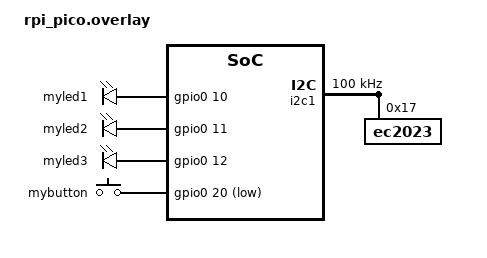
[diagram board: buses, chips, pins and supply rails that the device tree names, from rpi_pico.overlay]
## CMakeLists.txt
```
cmake_minimum_required(VERSION 3.20.0)

# Select our board 
set(BOARD rpi_pico)

# Find/Select cmake package 'Zephyr' 
find_package(Zephyr)

# This is only used by IntelliSense inside VS Code 
set(CMAKE_EXPORT_COMPILE_COMMANDS ON)

# For using west flash with picoprobe
set(OPENOCD "openocd")
set(OPENOCD_DEFAULT_PATH "/usr/local/share/openocd/scripts")

# Define project name
project(controller_code_driver)

# Add include directory 
target_include_directories(app PRIVATE src/inc)

# Add source files
FILE(GLOB SRC_FILES "src/*.c")
target_sources(app PRIVATE ${SRC_FILES})
```

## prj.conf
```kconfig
CONFIG_GPIO=y
CONFIG_I2C=y
CONFIG_I2C_TARGET=y
CONFIG_SENSOR=y
CONFIG_EC2023=y

CONFIG_DEBUG=y

CONFIG_NEWLIB_LIBC=y
CONFIG_NEWLIB_LIBC_FLOAT_PRINTF=y
```

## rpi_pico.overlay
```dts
#include <zephyr/dt-bindings/pinctrl/rpi-pico-rp2040-pinctrl.h>

// LED
/ {
	aliases {
		ledsoil = &myled1;
		statled = &myled2;
		aqled = &myled3;
		pinled = &mybutton;
	};

	leds {
		compatible = "gpio-leds";
		myled1: myled1 {
			gpios = <&gpio0 10 GPIO_ACTIVE_HIGH>;
		};
		myled2: myled2{
			gpios = <&gpio0 11 GPIO_ACTIVE_HIGH>;
		};
		myled3: myled3{
			gpios = <&gpio0 12 GPIO_ACTIVE_HIGH>;
		};
	};
	buttons {
		compatible = "gpio-keys";
		mybutton: mybutton {
		   gpios = <&gpio0 20 (GPIO_ACTIVE_LOW|GPIO_PULL_UP)>;
		};
	};
};


&pinctrl {
	i2c1_default: i2c1_default {
		group1 {
			pinmux = <I2C1_SDA_P2>, <I2C1_SCL_P3>;       
			input-enable;
			input-schmitt-enable;
		};
	};
};

&i2c1 {
	clock-frequency = <I2C_BITRATE_STANDARD>;
	status = "okay";
	pinctrl-0 = <&i2c1_default>;
	pinctrl-names = "default";
	ec2023@17{
		compatible = "ec2023";
		reg = <0x17>;
	};
};
```

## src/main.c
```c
/*       
 *
 * **********************          CONTROLLER DEVICE       **************************
 * 
 *  An interrupt occures on GPIO20 whenever soil moisture reading is dry
 *  An led on GPIO10 indicates the interrupt
 *  A status led keeps blinking ensuring the workflow
 *  
 * --------------------------------------------------
 * 
 * 	Editors : Anantha Krishnan
 *           Shalu Prakasi
 *           Shweta Rajasekhar
 * --------------------------------------------------
 * Sensor value Range
 * 0	~	300	- Fresh air             aq = 0      
 * 300	~	700	- Low pollution         aq = 1
 * > 700		- High pollution        aq = 2
 * --------------------------------------------------
 *
 * 
*/
#include <zephyr/kernel.h>
#include <zephyr/device.h>
#include <zephyr/devicetree.h>
#include <zephyr/drivers/gpio.h>
#include <zephyr/drivers/sensor.h>
#include <zephyr/drivers/i2c.h>
#include <stdio.h>

#define MOIST_HIGH  800
#define MOIST_LOW   350

#define STAT_LED		DT_ALIAS(statled)               // 11
#define AQ_LED			DT_ALIAS(aqled)                 //12
#define SOIL_LED    	DT_ALIAS(ledsoil)           //LED FOR INTERRUPT INDICATOR 10
#define SOIL_INTR   	DT_ALIAS(pinled)           //LED FOR INTERRUPT 20
#define STACK_SIZE  	500
#define AQDELAYHIGH		150
#define AQDELAYLOW		800			

struct gpio_dt_spec status = GPIO_DT_SPEC_GET(STAT_LED, gpios); 
struct gpio_dt_spec aq_led = GPIO_DT_SPEC_GET(AQ_LED, gpios); 
struct gpio_dt_spec soil_intr = GPIO_DT_SPEC_GET(SOIL_INTR, gpios); 
struct gpio_dt_spec soil_led = GPIO_DT_SPEC_GET(SOIL_LED, gpios); 
static struct gpio_callback soil_cb_data;

bool moisture_flag;

int aq_delay;

K_SEM_DEFINE(sem, 0, 1);
K_MUTEX_DEFINE(mutex);

void response_isr() {
    k_sem_give(&sem);
}

void main_task(void)
{
    int ret;
	gpio_pin_configure_dt(&status, GPIO_OUTPUT);
	gpio_pin_configure_dt(&aq_led, GPIO_OUTPUT);

	const struct device *const dev = DEVICE_DT_GET_ONE(ec2023);
	struct sensor_value temp, moisture, air_qual;

	if (!device_is_ready(dev)) {
		printk("sensor: device not ready.\n");
		return;
	}
	while (1) {
		gpio_pin_toggle_dt(&status);				//Status led just toggles each loop

		ret = sensor_sample_fetch(dev);
        if(ret < 0){
            printk("Error");
        }
		sensor_channel_get(dev, SENSOR_CHAN_AMBIENT_TEMP, &temp);
		sensor_channel_get(dev, SENSOR_CHAN_HUMIDITY, &moisture);
		sensor_channel_get(dev, SENSOR_CHAN_VOC, &air_qual);
		
		printk("Temperature\t: %d.%06d\t*\nSoil Moisture\t: %d\t\t*\nAQ index\t: %d\t\t*\n",temp.val1, temp.val2, moisture.val1, air_qual.val1);
		printk("*********************************\n");
		if(moisture.val1 > MOIST_LOW && moisture.val1 < MOIST_HIGH)
        {
            k_mutex_lock(&mutex, K_FOREVER);
            moisture_flag = 0;
			k_mutex_unlock(&mutex);
        }

		if(air_qual.val1 == 2){
			gpio_pin_set_dt(&aq_led, 1);
		}
		else{
			gpio_pin_set_dt(&aq_led, 0);
		}
		k_sleep(K_MSEC(3000));
	}
}

// For interrupt 
void trigger_task(){
    gpio_pin_configure_dt(&soil_intr, GPIO_INPUT);
    gpio_pin_interrupt_configure_dt(&soil_intr, GPIO_INT_EDGE_FALLING);

    gpio_init_callback(&soil_cb_data, response_isr, BIT(soil_intr.pin));
    gpio_add_callback(soil_intr.port, &soil_cb_data);

    while(1){
        k_sem_take(&sem, K_FOREVER);
        // printk("\nInterrupt");
        k_mutex_lock(&mutex, K_FOREVER);
        moisture_flag = 1;
        k_mutex_unlock(&mutex);
    }

}

void led_task(){
	bool f;
    gpio_pin_configure_dt(&soil_led, GPIO_OUTPUT);

    while (1)
    {
        k_mutex_lock(&mutex, K_FOREVER);
        f = moisture_flag;
        k_mutex_unlock(&mutex);
        if(f){
            // printk("\ntoggle led");
            gpio_pin_toggle_dt(&soil_led);
        }
        else{
            // printk("\noff led");
            gpio_pin_set_dt(&soil_led,0);
        } 
        k_msleep(250);  
    }
}

K_THREAD_DEFINE(thread1_id, STACK_SIZE, main_task, NULL, NULL, NULL, 5, 0, 0);
K_THREAD_DEFINE(thread2_id, STACK_SIZE, led_task, NULL, NULL, NULL, 5, 0, 0);
K_THREAD_DEFINE(thread3_id, STACK_SIZE, trigger_task, NULL, NULL, NULL, 5, 0, 0);
```
